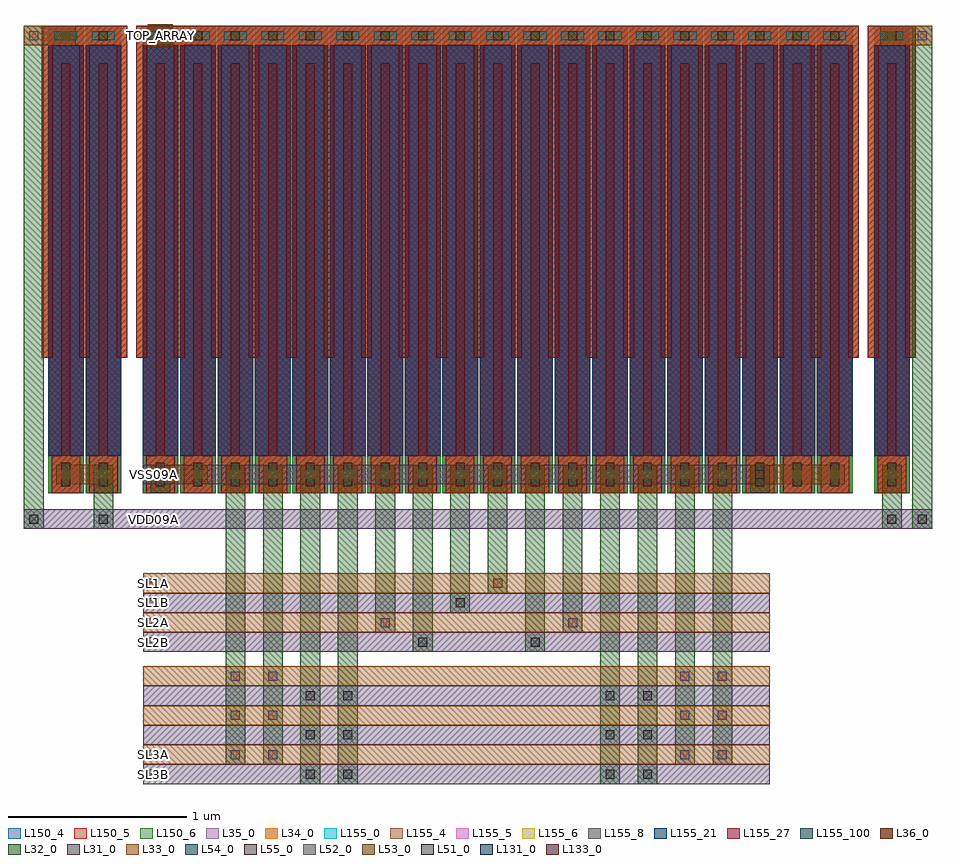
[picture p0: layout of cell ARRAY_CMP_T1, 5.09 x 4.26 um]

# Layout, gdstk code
from math import pi, radians
import gdstk
lib = gdstk.Library(unit=1e-6, precision=1e-09)
def R(c, l, rs):  # rectangles x0, y0, x1, y1
    for r in rs: c.add(gdstk.rectangle(r[:2], r[2:], *l))
def A(c, l, x, y, w, h, nx, ny, dx, dy):  # array of equal rectangles
    R(c, l, [(x+i*dx, y+j*dy, x+i*dx+w, y+j*dy+h) for i in range(nx) for j in range(ny)])
L31_0 = (31, 0)
L32_0 = (32, 0)
L33_0 = (33, 0)
L34_0 = (34, 0)
L35_0 = (35, 0)
L36_0 = (36, 0)
L51_0 = (51, 0)
L52_0 = (52, 0)
L53_0 = (53, 0)
L54_0 = (54, 0)
L55_0 = (55, 0)
L131_0 = (131, 0)
L133_0 = (133, 0)
L150_4 = (150, 4)
L150_5 = (150, 5)
L150_6 = (150, 6)
L155_0 = (155, 0)
L155_4 = (155, 4)
L155_5 = (155, 5)
L155_6 = (155, 6)
L155_8 = (155, 8)
L155_21 = (155, 21)
L155_27 = (155, 27)
L155_100 = (155, 100)

m5_m4_cdns_617192274146 = lib.new_cell('M5_M4_CDNS_617192274146')
R(m5_m4_cdns_617192274146, L34_0, [(-0.07,-0.105,0.07,0.105)])
R(m5_m4_cdns_617192274146, L35_0, [(-0.07,-0.105,0.07,0.105)])
R(m5_m4_cdns_617192274146, L54_0, [(-0.025,-0.065,0.025,0.065)])

m6_m5_cdns_617192274147 = lib.new_cell('M6_M5_CDNS_617192274147')
R(m6_m5_cdns_617192274147, L35_0, [(-0.07,-0.105,0.07,0.105)])
R(m6_m5_cdns_617192274147, L36_0, [(-0.055,-0.105,0.055,0.105)])
R(m6_m5_cdns_617192274147, L55_0, [(-0.025,-0.065,0.025,0.065)])

m5_m4_cdns_617192274148 = lib.new_cell('M5_M4_CDNS_617192274148')
R(m5_m4_cdns_617192274148, L34_0, [(-0.095,-0.055,0.095,0.055)])
R(m5_m4_cdns_617192274148, L35_0, [(-0.12,-0.055,0.12,0.055)])
R(m5_m4_cdns_617192274148, L54_0, [(-0.065,-0.025,0.065,0.025)])

m6_m5_cdns_617192274149 = lib.new_cell('M6_M5_CDNS_617192274149')
R(m6_m5_cdns_617192274149, L35_0, [(-0.055,-0.055,0.055,0.055)])
R(m6_m5_cdns_617192274149, L36_0, [(-0.055,-0.055,0.055,0.055)])
R(m6_m5_cdns_617192274149, L55_0, [(-0.025,-0.025,0.025,0.025)])

cu1f = lib.new_cell('CU1F')
R(cu1f, L34_0, [(0.02,0,0.18,0.21), (-0.035,2.51,0.235,2.62)])
R(cu1f, L35_0, [(0.02,0,0.18,0.21), (-0.035,2.51,0.235,2.62)])
R(cu1f, L36_0, [(0.02,0,0.18,0.21), (-0.035,2.51,0.235,2.62)])
R(cu1f, L150_4, [(0,0,0.2,2.62)])
R(cu1f, L150_5, [(0,0,0.2,2.62)])
R(cu1f, L150_6, [(0,0,0.2,2.62)])
R(cu1f, L155_0, [(0,0.21,0.2,2.51)])
R(cu1f, L155_4, [(0,0.21,0.2,2.51)])
R(cu1f, L155_5, [(0,0.21,0.2,2.51)])
R(cu1f, L155_6, [(0,0.21,0.2,2.51)])
R(cu1f, L155_8, [(0,0.21,0.2,2.51)])
R(cu1f, L155_21, [(0,0.21,0.2,2.51)])
R(cu1f, L155_27, [(0,0.21,0.2,2.51)])
R(cu1f, L155_100, [(0,0.21,0.2,2.51)])
cu1f.add(gdstk.FlexPath([(0.205,2.59),(0.205,0.76)], 0.06, ends=(0.03, 0), simple_path=True, layer=34, datatype=0))  # L34_0
cu1f.add(gdstk.FlexPath([(0.1,2.41),(0.1,0)], 0.05, ends="flush", simple_path=True, layer=34, datatype=0))  # L34_0
cu1f.add(gdstk.FlexPath([(-0.005,2.59),(-0.005,0.76)], 0.06, ends=(0.03, 0), simple_path=True, layer=34, datatype=0))  # L34_0
cu1f.add(gdstk.FlexPath([(0.205,0.76),(0.205,2.59)], 0.06, ends=(0, 0.03), simple_path=True, layer=35, datatype=0))  # L35_0
cu1f.add(gdstk.FlexPath([(0.1,2.41),(0.1,0)], 0.05, ends="flush", simple_path=True, layer=35, datatype=0))  # L35_0
cu1f.add(gdstk.FlexPath([(-0.005,0.76),(-0.005,2.59)], 0.06, ends=(0, 0.03), simple_path=True, layer=35, datatype=0))  # L35_0
cu1f.add(gdstk.FlexPath([(0.205,0.76),(0.205,2.59)], 0.06, ends=(0, 0.03), simple_path=True, layer=36, datatype=0))  # L36_0
cu1f.add(gdstk.FlexPath([(0.1,2.41),(0.1,0)], 0.05, ends="flush", simple_path=True, layer=36, datatype=0))  # L36_0
cu1f.add(gdstk.FlexPath([(-0.005,0.76),(-0.005,2.59)], 0.06, ends=(0, 0.03), simple_path=True, layer=36, datatype=0))  # L36_0
cu1f.add(gdstk.Reference(m5_m4_cdns_617192274146, (0.1,0.105), rotation=pi, x_reflection=True))
cu1f.add(gdstk.Reference(m6_m5_cdns_617192274147, (0.1,0.105), rotation=pi, x_reflection=True))
cu1f.add(gdstk.Reference(m5_m4_cdns_617192274148, (0.1,2.565)))
cu1f.add(gdstk.Reference(m6_m5_cdns_617192274149, (0.1,2.565)))

m2_m1_cdns_617192274140 = lib.new_cell('M2_M1_CDNS_617192274140')
R(m2_m1_cdns_617192274140, L31_0, [(-0.055,-0.055,0.055,0.055)])
R(m2_m1_cdns_617192274140, L32_0, [(-0.055,-0.055,0.055,0.055)])
R(m2_m1_cdns_617192274140, L51_0, [(-0.025,-0.025,0.025,0.025)])

m3_m2_cdns_617192274141 = lib.new_cell('M3_M2_CDNS_617192274141')
R(m3_m2_cdns_617192274141, L32_0, [(-0.055,-0.055,0.055,0.055)])
R(m3_m2_cdns_617192274141, L33_0, [(-0.055,-0.055,0.055,0.055)])
R(m3_m2_cdns_617192274141, L52_0, [(-0.025,-0.025,0.025,0.025)])

m4_m3_cdns_617192274142 = lib.new_cell('M4_M3_CDNS_617192274142')
R(m4_m3_cdns_617192274142, L33_0, [(-0.055,-0.055,0.055,0.055)])
R(m4_m3_cdns_617192274142, L34_0, [(-0.055,-0.055,0.055,0.055)])
R(m4_m3_cdns_617192274142, L53_0, [(-0.025,-0.025,0.025,0.025)])

m4_m3_cdns_617192274143 = lib.new_cell('M4_M3_CDNS_617192274143')
R(m4_m3_cdns_617192274143, L33_0, [(-0.07,-0.065,0.07,0.065)])
R(m4_m3_cdns_617192274143, L34_0, [(-0.055,-0.055,0.055,0.055)])
R(m4_m3_cdns_617192274143, L53_0, [(-0.025,-0.025,0.025,0.025)])

m3_m2_cdns_617192274144 = lib.new_cell('M3_M2_CDNS_617192274144')
R(m3_m2_cdns_617192274144, L32_0, [(-0.065,-0.06,0.065,0.06)])
R(m3_m2_cdns_617192274144, L33_0, [(-0.07,-0.065,0.07,0.065)])
R(m3_m2_cdns_617192274144, L52_0, [(-0.025,-0.025,0.025,0.025)])

m2_m1_cdns_617192274145 = lib.new_cell('M2_M1_CDNS_617192274145')
R(m2_m1_cdns_617192274145, L31_0, [(-0.055,-0.055,0.055,0.055)])
R(m2_m1_cdns_617192274145, L32_0, [(-0.065,-0.06,0.065,0.06)])
R(m2_m1_cdns_617192274145, L51_0, [(-0.025,-0.025,0.025,0.025)])

array_cmp_t1 = lib.new_cell('ARRAY_CMP_T1')
A(array_cmp_t1, L31_0, 0.535, -1.63, 3.51, 0.11, 1, 3, 0, 0.22)
R(array_cmp_t1, L31_0, [(0.535,-0.89,4.045,-0.78), (0.535,-0.67,4.045,-0.56), (-0.135,-0.2,4.955,-0.09), (0.535,0.05,4.045,0.16), (0.56,2.5,0.7,2.63)])
R(array_cmp_t1, L32_0, [(1.415,-1.63,1.525,0.16), (1.625,-1.63,1.735,0.16), (3.095,-1.63,3.205,0.16), (3.305,-1.63,3.415,0.16), (0.995,-1.52,1.105,0.16), (1.205,-1.52,1.315,0.16), (3.515,-1.52,3.625,0.16), (3.725,-1.52,3.835,0.16), (2.045,-0.89,2.155,0.16), (2.675,-0.89,2.785,0.16), (1.835,-0.78,1.945,0.16), (2.885,-0.78,2.995,0.16), (2.255,-0.67,2.365,0.16), (2.465,-0.56,2.575,0.16), (-0.135,-0.2,-0.025,2.62), (0.255,-0.2,0.365,0.16), (4.675,-0.2,4.785,0.16), (4.845,-0.2,4.955,2.62), (0.575,0,0.685,0.16), (3.935,0,4.045,0.16)])
A(array_cmp_t1, L33_0, 0.535, -1.52, 3.51, 0.11, 1, 3, 0, 0.22)
A(array_cmp_t1, L33_0, 0.995, 0, 0.11, 0.16, 14, 1, 0.21, 0)
R(array_cmp_t1, L33_0, [(0.535,-0.78,4.045,-0.67), (0.535,-0.56,4.045,-0.45), (4.675,0,4.785,0.16), (0.045,0.05,0.365,0.16), (0.575,0.05,0.895,0.16), (3.935,0.05,4.465,0.16), (-0.135,2.51,0.155,2.62), (4.665,2.51,4.955,2.62)])
R(array_cmp_t1, L131_0, [(0.565,-1.6,0.615,-1.55), (0.565,-0.86,0.615,-0.81), (0.565,-0.64,0.615,-0.59), (0.565,-0.17,0.615,-0.12), (0.565,0.08,0.615,0.13), (0.605,2.54,0.655,2.59)])
R(array_cmp_t1, L133_0, [(0.565,-1.49,0.615,-1.44), (0.565,-0.75,0.615,-0.7), (0.565,-0.53,0.615,-0.48)])
array_cmp_t1.add(gdstk.Reference(cu1f, (0,0)))
array_cmp_t1.add(gdstk.Reference(cu1f, (0.21,0)))
array_cmp_t1.add(gdstk.Reference(cu1f, (0.53,0)))
array_cmp_t1.add(gdstk.Reference(cu1f, (0.74,0)))
array_cmp_t1.add(gdstk.Reference(cu1f, (4.63,0)))
array_cmp_t1.add(gdstk.Reference(cu1f, (4.31,0)))
array_cmp_t1.add(gdstk.Reference(cu1f, (4.1,0)))
array_cmp_t1.add(gdstk.Reference(cu1f, (3.89,0)))
array_cmp_t1.add(gdstk.Reference(cu1f, (3.68,0)))
array_cmp_t1.add(gdstk.Reference(cu1f, (3.47,0)))
array_cmp_t1.add(gdstk.Reference(cu1f, (3.26,0)))
array_cmp_t1.add(gdstk.Reference(cu1f, (3.05,0)))
array_cmp_t1.add(gdstk.Reference(cu1f, (2.84,0)))
array_cmp_t1.add(gdstk.Reference(cu1f, (2.63,0)))
array_cmp_t1.add(gdstk.Reference(cu1f, (2.42,0)))
array_cmp_t1.add(gdstk.Reference(cu1f, (2.21,0)))
array_cmp_t1.add(gdstk.Reference(cu1f, (2,0)))
array_cmp_t1.add(gdstk.Reference(cu1f, (1.79,0)))
array_cmp_t1.add(gdstk.Reference(cu1f, (1.58,0)))
array_cmp_t1.add(gdstk.Reference(cu1f, (1.37,0)))
array_cmp_t1.add(gdstk.Reference(cu1f, (1.16,0)))
array_cmp_t1.add(gdstk.Reference(cu1f, (0.95,0)))
array_cmp_t1.add(gdstk.Reference(m2_m1_cdns_617192274140, (1.68,-1.135)))
array_cmp_t1.add(gdstk.Reference(m2_m1_cdns_617192274140, (3.36,-1.135)))
array_cmp_t1.add(gdstk.Reference(m2_m1_cdns_617192274140, (1.47,-1.135)))
array_cmp_t1.add(gdstk.Reference(m2_m1_cdns_617192274140, (3.15,-1.135)))
array_cmp_t1.add(gdstk.Reference(m2_m1_cdns_617192274140, (4.9,-0.145)))
array_cmp_t1.add(gdstk.Reference(m2_m1_cdns_617192274140, (-0.08,-0.145)))
array_cmp_t1.add(gdstk.Reference(m2_m1_cdns_617192274140, (1.68,-1.355)))
array_cmp_t1.add(gdstk.Reference(m2_m1_cdns_617192274140, (3.99,0.105)))
array_cmp_t1.add(gdstk.Reference(m2_m1_cdns_617192274140, (3.36,-1.355)))
array_cmp_t1.add(gdstk.Reference(m2_m1_cdns_617192274140, (1.47,-1.355)))
array_cmp_t1.add(gdstk.Reference(m2_m1_cdns_617192274140, (4.73,-0.145)))
array_cmp_t1.add(gdstk.Reference(m2_m1_cdns_617192274140, (0.31,-0.145)))
array_cmp_t1.add(gdstk.Reference(m2_m1_cdns_617192274140, (2.31,-0.615)))
array_cmp_t1.add(gdstk.Reference(m2_m1_cdns_617192274140, (2.1,-0.835)))
array_cmp_t1.add(gdstk.Reference(m2_m1_cdns_617192274140, (2.73,-0.835)))
array_cmp_t1.add(gdstk.Reference(m2_m1_cdns_617192274140, (1.68,-1.575)))
array_cmp_t1.add(gdstk.Reference(m2_m1_cdns_617192274140, (1.47,-1.575)))
array_cmp_t1.add(gdstk.Reference(m2_m1_cdns_617192274140, (3.15,-1.575)))
array_cmp_t1.add(gdstk.Reference(m2_m1_cdns_617192274140, (3.36,-1.575)))
array_cmp_t1.add(gdstk.Reference(m2_m1_cdns_617192274140, (3.15,-1.355)))
array_cmp_t1.add(gdstk.Reference(m2_m1_cdns_617192274140, (0.63,0.105)))
array_cmp_t1.add(gdstk.Reference(m3_m2_cdns_617192274141, (1.05,-1.025)))
array_cmp_t1.add(gdstk.Reference(m3_m2_cdns_617192274141, (3.78,-1.025)))
array_cmp_t1.add(gdstk.Reference(m3_m2_cdns_617192274141, (3.57,-1.025)))
array_cmp_t1.add(gdstk.Reference(m3_m2_cdns_617192274141, (1.26,-1.025)))
array_cmp_t1.add(gdstk.Reference(m3_m2_cdns_617192274141, (1.05,-1.245)))
array_cmp_t1.add(gdstk.Reference(m3_m2_cdns_617192274141, (3.78,-1.245)))
array_cmp_t1.add(gdstk.Reference(m3_m2_cdns_617192274141, (3.57,-1.245)))
array_cmp_t1.add(gdstk.Reference(m3_m2_cdns_617192274141, (3.57,-1.465)))
array_cmp_t1.add(gdstk.Reference(m3_m2_cdns_617192274141, (4.9,2.565)))
array_cmp_t1.add(gdstk.Reference(m3_m2_cdns_617192274141, (-0.08,2.565)))
array_cmp_t1.add(gdstk.Reference(m3_m2_cdns_617192274141, (1.05,0.105)))
array_cmp_t1.add(gdstk.Reference(m3_m2_cdns_617192274141, (1.26,0.105)))
array_cmp_t1.add(gdstk.Reference(m3_m2_cdns_617192274141, (1.47,0.105)))
array_cmp_t1.add(gdstk.Reference(m3_m2_cdns_617192274141, (1.68,0.105)))
array_cmp_t1.add(gdstk.Reference(m3_m2_cdns_617192274141, (1.89,0.105)))
array_cmp_t1.add(gdstk.Reference(m3_m2_cdns_617192274141, (2.1,0.105)))
array_cmp_t1.add(gdstk.Reference(m3_m2_cdns_617192274141, (2.31,0.105)))
array_cmp_t1.add(gdstk.Reference(m3_m2_cdns_617192274141, (2.52,0.105)))
array_cmp_t1.add(gdstk.Reference(m3_m2_cdns_617192274141, (2.73,0.105)))
array_cmp_t1.add(gdstk.Reference(m3_m2_cdns_617192274141, (2.94,0.105)))
array_cmp_t1.add(gdstk.Reference(m3_m2_cdns_617192274141, (3.15,0.105)))
array_cmp_t1.add(gdstk.Reference(m3_m2_cdns_617192274141, (3.36,0.105)))
array_cmp_t1.add(gdstk.Reference(m3_m2_cdns_617192274141, (3.57,0.105)))
array_cmp_t1.add(gdstk.Reference(m3_m2_cdns_617192274141, (3.78,0.105)))
array_cmp_t1.add(gdstk.Reference(m3_m2_cdns_617192274141, (4.73,0.105)))
array_cmp_t1.add(gdstk.Reference(m3_m2_cdns_617192274141, (3.99,0.105)))
array_cmp_t1.add(gdstk.Reference(m3_m2_cdns_617192274141, (0.63,0.105)))
array_cmp_t1.add(gdstk.Reference(m3_m2_cdns_617192274141, (0.31,0.105)))
array_cmp_t1.add(gdstk.Reference(m3_m2_cdns_617192274141, (1.26,-1.245)))
array_cmp_t1.add(gdstk.Reference(m3_m2_cdns_617192274141, (2.52,-0.505)))
array_cmp_t1.add(gdstk.Reference(m3_m2_cdns_617192274141, (2.94,-0.725)))
array_cmp_t1.add(gdstk.Reference(m3_m2_cdns_617192274141, (1.05,-1.465)))
array_cmp_t1.add(gdstk.Reference(m3_m2_cdns_617192274141, (3.78,-1.465)))
array_cmp_t1.add(gdstk.Reference(m3_m2_cdns_617192274141, (1.89,-0.725)))
array_cmp_t1.add(gdstk.Reference(m3_m2_cdns_617192274141, (1.26,-1.465)))
array_cmp_t1.add(gdstk.Reference(m4_m3_cdns_617192274142, (4.72,2.565), rotation=pi, x_reflection=True))
array_cmp_t1.add(gdstk.Reference(m4_m3_cdns_617192274142, (0.1,2.565)))
array_cmp_t1.add(gdstk.Reference(m4_m3_cdns_617192274142, (1.05,0.105)))
array_cmp_t1.add(gdstk.Reference(m4_m3_cdns_617192274142, (1.26,0.105)))
array_cmp_t1.add(gdstk.Reference(m4_m3_cdns_617192274142, (1.47,0.105)))
array_cmp_t1.add(gdstk.Reference(m4_m3_cdns_617192274142, (1.68,0.105)))
array_cmp_t1.add(gdstk.Reference(m4_m3_cdns_617192274142, (1.89,0.105)))
array_cmp_t1.add(gdstk.Reference(m4_m3_cdns_617192274142, (2.1,0.105)))
array_cmp_t1.add(gdstk.Reference(m4_m3_cdns_617192274142, (2.31,0.105)))
array_cmp_t1.add(gdstk.Reference(m4_m3_cdns_617192274142, (2.52,0.105)))
array_cmp_t1.add(gdstk.Reference(m4_m3_cdns_617192274142, (2.73,0.105)))
array_cmp_t1.add(gdstk.Reference(m4_m3_cdns_617192274142, (2.94,0.105)))
array_cmp_t1.add(gdstk.Reference(m4_m3_cdns_617192274142, (3.15,0.105)))
array_cmp_t1.add(gdstk.Reference(m4_m3_cdns_617192274142, (3.36,0.105)))
array_cmp_t1.add(gdstk.Reference(m4_m3_cdns_617192274142, (3.57,0.105)))
array_cmp_t1.add(gdstk.Reference(m4_m3_cdns_617192274142, (3.78,0.105)))
array_cmp_t1.add(gdstk.Reference(m4_m3_cdns_617192274142, (4.73,0.105)))
array_cmp_t1.add(gdstk.Reference(m4_m3_cdns_617192274142, (4.2,0.105)))
array_cmp_t1.add(gdstk.Reference(m4_m3_cdns_617192274142, (4.41,0.105)))
array_cmp_t1.add(gdstk.Reference(m4_m3_cdns_617192274142, (3.99,0.105)))
array_cmp_t1.add(gdstk.Reference(m4_m3_cdns_617192274142, (0.84,0.105)))
array_cmp_t1.add(gdstk.Reference(m4_m3_cdns_617192274142, (0.63,0.105)))
array_cmp_t1.add(gdstk.Reference(m4_m3_cdns_617192274142, (0.1,0.105)))
array_cmp_t1.add(gdstk.Reference(m4_m3_cdns_617192274142, (0.31,0.105)))
array_cmp_t1.add(gdstk.Reference(m4_m3_cdns_617192274143, (0.63,2.565)))
array_cmp_t1.add(gdstk.Reference(m3_m2_cdns_617192274144, (0.63,2.565)))
array_cmp_t1.add(gdstk.Reference(m2_m1_cdns_617192274145, (0.63,2.565)))
array_cmp_t1.add(gdstk.Label('SL3A', (0.59,-1.465), layer=133, texttype=0))
array_cmp_t1.add(gdstk.Label('SL1A', (0.59,-0.505), layer=133, texttype=0))
array_cmp_t1.add(gdstk.Label('SL2A', (0.59,-0.725), layer=133, texttype=0))
array_cmp_t1.add(gdstk.Label('VDD09A', (0.59,-0.145), layer=131, texttype=0))
array_cmp_t1.add(gdstk.Label('SL3B', (0.59,-1.575), layer=131, texttype=0))
array_cmp_t1.add(gdstk.Label('VSS09A', (0.59,0.105), layer=131, texttype=0))
array_cmp_t1.add(gdstk.Label('SL2B', (0.59,-0.835), layer=131, texttype=0))
array_cmp_t1.add(gdstk.Label('TOP_ARRAY', (0.628,2.565), layer=131, texttype=0))
array_cmp_t1.add(gdstk.Label('SL1B', (0.59,-0.615), layer=131, texttype=0))

lib.write_gds('ARRAY_CMP_T1.gds')
